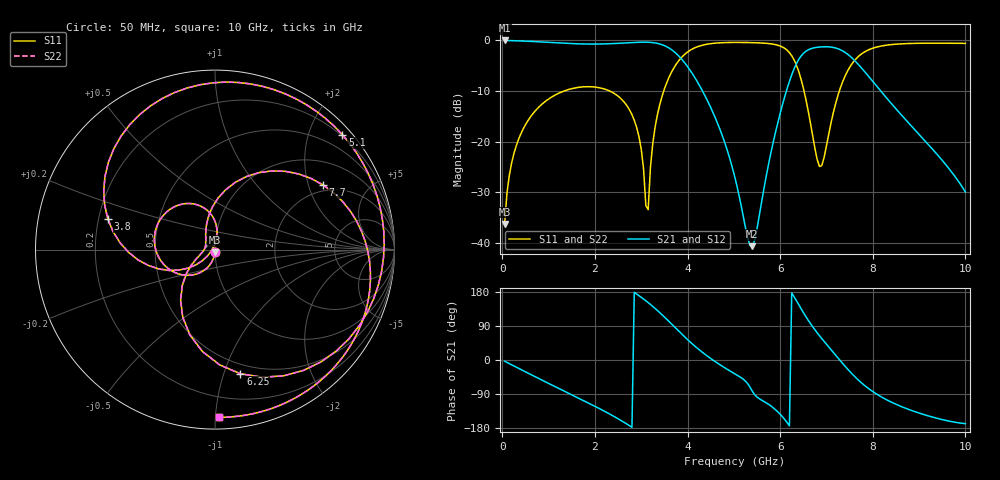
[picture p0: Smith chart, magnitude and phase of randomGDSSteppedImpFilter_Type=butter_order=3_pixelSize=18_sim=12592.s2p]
! freq	dB(S11)	phase(S11)	dB(S12)	phase(S12)
!  dB(S21)	phase(S21)	dB(S22)	phase(S22)
!S-par simulation data
#  GHz  S  DB  R 50
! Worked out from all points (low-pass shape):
!   200 points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, 50 MHz to 10 GHz, reference 50 ohm
!   highest |S21| = 0.00 dB at 50 MHz (marker M1); lowest = -40.7 dB at 5.4 GHz (marker M2)
!   |S21| within 3 dB of the highest: start of sweep to 3.803 GHz; 6.459 GHz to 7.495 GHz (1.036 GHz wide, 14.8 % of centre)
!   lowest |S11| = -36.3 dB at 50 MHz (marker M3), VSWR 1.03, Z = 49.9 - j1.53 ohm
!   |S11| at or under -10 dB: start of sweep to 1.333 GHz; 2.317 GHz to 3.486 GHz (1.169 GHz wide, 40.3 % of centre); 6.515 GHz to 7.279 GHz (763.4 MHz wide, 11.1 % of centre)
!   |S22| runs from -36.3 to -0.4 dB; largest |S21 - S12| = 0
!   S11 on the Smith chart (normalised r, x): 50 MHz: 1.00, -0.03; 3.8 GHz: 0.24, +0.13; 5.1 GHz: 0.18, +2.59; 6.25 GHz: 0.41, -1.14; 7.7 GHz: 1.76, +2.50; 10 GHz: 0.07, -1.02
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0.05  -36.27 -92.9  -0.00 -3.2  -0.00 -3.2  -36.27 -92.9
0.2  -24.29 -102.6  -0.04 -12.6  -0.04 -12.6  -24.29 -102.5
0.5  -16.67 -121.6  -0.14 -31.2  -0.14 -31.2  -16.67 -121.6
1.75  -9.17 162.8  -0.70 -106.7  -0.70 -106.7  -9.17 162.8
2.75  -13.77 97.7  -0.44 -173.6  -0.44 -173.6  -13.77 97.7
3.15  -33.44 -159.9  -0.35 151.4  -0.35 151.4  -33.35 -160.6
3.25  -20.30 -138.8  -0.43 141.3  -0.43 141.3  -20.29 -139.0
3.4  -12.69 -150.4  -0.70 125.1  -0.70 125.1  -12.69 -150.5
3.8  -4.13 164.0  -2.98 77.3  -2.98 77.3  -4.13 163.9
4.4  -0.78 99.7  -11.35 12.9  -11.35 12.9  -0.78 99.7
5.05  -0.39 45.9  -28.10 -38.5  -28.10 -38.5  -0.39 45.9
5.1  -0.39 42.0  -30.12 -42.1  -30.12 -42.1  -0.39 42.0
5.4  -0.44 18.6  -40.66 -82.5  -40.66 -82.5  -0.44 18.5
5.85  -0.74 -22.2  -20.11 -126.0  -20.11 -126.0  -0.74 -22.3
6.25  -3.03 -78.4  -6.80 176.9  -6.80 176.9  -3.03 -78.6
6.45  -7.62 -115.6  -3.10 135.8  -3.10 135.8  -7.62 -115.8
6.7  -18.73 -153.6  -1.53 88.1  -1.53 88.1  -18.77 -154.3
6.9  -24.72 154.0  -1.27 56.4  -1.27 56.4  -24.72 152.9
7.2  -12.41 93.3  -1.50 12.4  -1.50 12.4  -12.40 93.1
7.7  -3.08 30.9  -4.86 -54.3  -4.86 -54.3  -3.08 30.9
8.35  -0.87 -21.0  -11.93 -108.1  -11.93 -108.1  -0.87 -21.0
10  -0.59 -88.5  -29.95 -167.9  -29.95 -167.9  -0.59 -88.5
